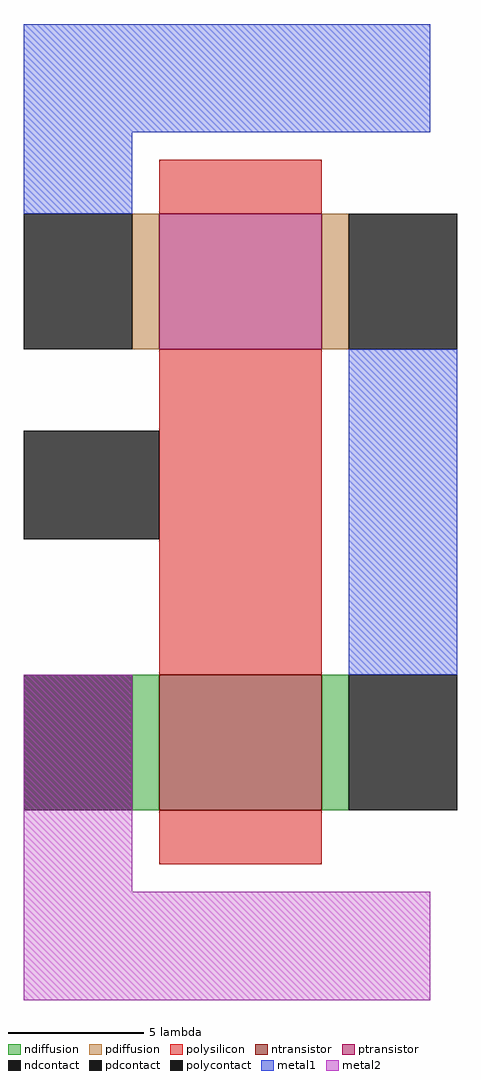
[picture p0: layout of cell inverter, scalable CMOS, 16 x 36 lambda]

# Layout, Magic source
magic
tech scmos
<< polysilicon >>
rect 11 19 17 21
rect 11 2 17 14
rect 11 -5 17 -3
<< ndiffusion >>
rect 10 -3 11 2
rect 17 -3 18 2
<< pdiffusion >>
rect 10 14 11 19
rect 17 14 18 19
<< metal1 >>
rect 6 22 21 26
rect 6 19 10 22
rect 18 2 22 14
<< metal2 >>
rect 6 -6 10 2
rect 6 -10 21 -6
<< ntransistor >>
rect 11 -3 17 2
<< ptransistor >>
rect 11 14 17 19
<< polycontact >>
rect 6 7 11 11
<< ndcontact >>
rect 6 -3 10 2
rect 18 -3 22 2
<< pdcontact >>
rect 6 14 10 19
rect 18 14 22 19
<< end >>
